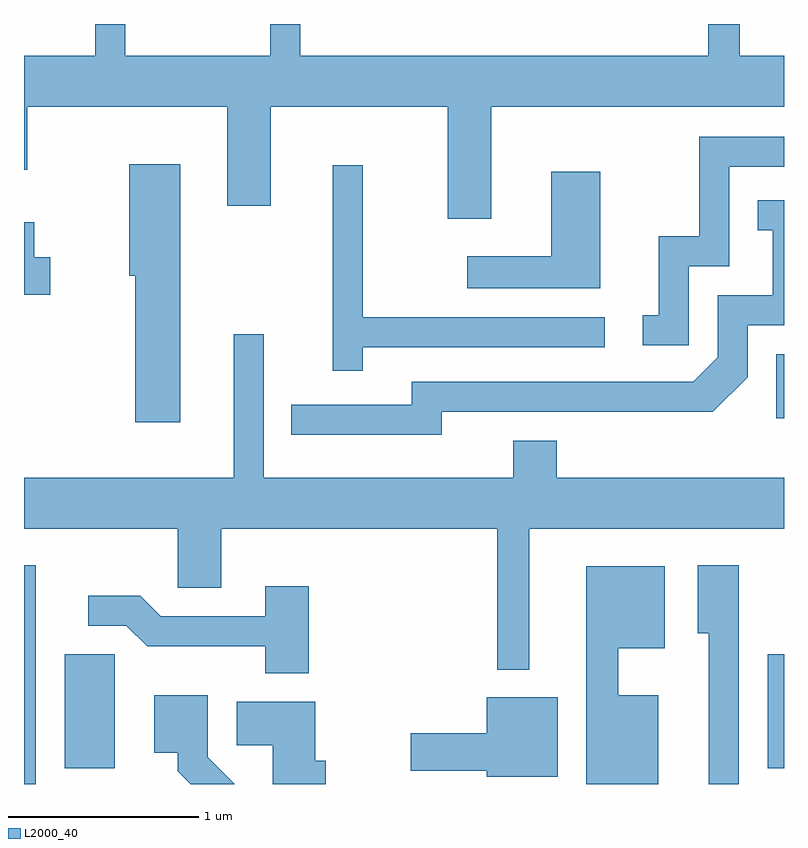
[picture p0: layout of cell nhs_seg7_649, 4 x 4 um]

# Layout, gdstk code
import gdstk
lib = gdstk.Library(unit=1e-6, precision=1e-09)
def R(c, l, rs):  # rectangles x0, y0, x1, y1
    for r in rs: c.add(gdstk.rectangle(r[:2], r[2:], *l))
def P(c, l, *ps):  # polygons
    for p in ps: c.add(gdstk.Polygon(p, *l))
L2000_40 = (2000, 40)

nhs_seg7_649 = lib.new_cell('nhs_seg7_649')
R(nhs_seg7_649, L2000_40, [(203.611,1766.252,203.674,1767.404), (203.826,1766.336,204.089,1766.934), (207.526,1766.336,207.611,1766.934), (207.571,1768.178,207.611,1768.514)])
P(nhs_seg7_649, L2000_40, [(206.069,1769.816),(207.611,1769.816),(207.611,1770.084),(207.379,1770.084),(207.379,1770.252),(207.211,1770.252),(207.211,1770.084),(205.064,1770.084),(205.064,1770.252),(204.906,1770.252),(204.906,1770.084),(204.144,1770.084),(204.144,1770.252),(203.986,1770.252),(203.986,1770.084),(203.611,1770.084),(203.611,1769.486),(203.629,1769.486),(203.629,1769.816),(204.681,1769.816),(204.681,1769.296),(204.909,1769.296),(204.909,1769.816),(205.841,1769.816),(205.841,1769.226),(206.069,1769.226)],
  [(207.109,1768.976),(207.324,1768.976),(207.324,1769.501),(207.611,1769.501),(207.611,1769.659),(207.166,1769.659),(207.166,1769.134),(206.951,1769.134),(206.951,1768.719),(206.868,1768.719),(206.868,1768.561),(207.109,1768.561)],
  [(204.434,1769.514),(204.166,1769.514),(204.166,1768.926),(204.196,1768.926),(204.196,1768.156),(204.434,1768.156)],
  [(205.394,1768.551),(206.668,1768.551),(206.668,1768.709),(205.394,1768.709),(205.394,1769.508),(205.236,1769.508),(205.236,1768.428),(205.394,1768.428)],
  [(206.644,1769.474),(206.386,1769.474),(206.386,1769.029),(205.943,1769.029),(205.943,1768.861),(206.644,1768.861)],
  [(205.809,1768.211),(207.237,1768.211),(207.419,1768.394),(207.419,1768.666),(207.611,1768.666),(207.611,1769.324),(207.473,1769.324),(207.473,1769.166),(207.551,1769.166),(207.551,1768.824),(207.261,1768.824),(207.261,1768.497),(207.134,1768.369),(205.651,1768.369),(205.651,1768.249),(205.018,1768.249),(205.018,1768.091),(205.809,1768.091)],
  [(203.749,1769.024),(203.664,1769.024),(203.664,1769.209),(203.611,1769.209),(203.611,1768.826),(203.749,1768.826)],
  [(206.269,1767.596),(207.611,1767.596),(207.611,1767.864),(206.414,1767.864),(206.414,1768.059),(206.186,1768.059),(206.186,1767.864),(204.874,1767.864),(204.874,1768.618),(204.716,1768.618),(204.716,1767.864),(203.611,1767.864),(203.611,1767.596),(204.421,1767.596),(204.421,1767.286),(204.649,1767.286),(204.649,1767.596),(206.101,1767.596),(206.101,1766.853),(206.269,1766.853)],
  [(207.374,1767.404),(207.156,1767.404),(207.156,1767.046),(207.216,1767.046),(207.216,1766.252),(207.374,1766.252)],
  [(206.949,1766.719),(206.739,1766.719),(206.739,1766.966),(206.984,1766.966),(206.984,1767.399),(206.571,1767.399),(206.571,1766.252),(206.949,1766.252)],
  [(205.109,1767.294),(204.881,1767.294),(204.881,1767.134),(204.332,1767.134),(204.222,1767.244),(203.948,1767.244),(203.948,1767.086),(204.149,1767.086),(204.259,1766.976),(204.881,1766.976),(204.881,1766.836),(205.109,1766.836)],
  [(204.579,1766.392),(204.579,1766.719),(204.296,1766.719),(204.296,1766.416),(204.421,1766.416),(204.421,1766.319),(204.488,1766.252),(204.719,1766.252)],
  [(206.419,1766.709),(206.046,1766.709),(206.046,1766.519),(205.646,1766.519),(205.646,1766.321),(206.046,1766.321),(206.046,1766.291),(206.419,1766.291)],
  [(205.199,1766.374),(205.144,1766.374),(205.144,1766.684),(204.731,1766.684),(204.731,1766.456),(204.921,1766.456),(204.921,1766.252),(205.199,1766.252)])

lib.write_gds('nhs_seg7_649.gds')
